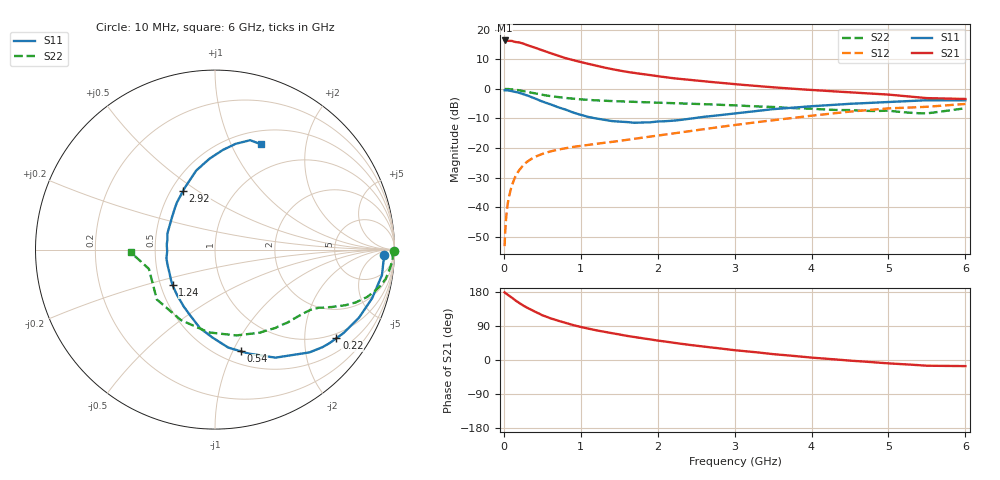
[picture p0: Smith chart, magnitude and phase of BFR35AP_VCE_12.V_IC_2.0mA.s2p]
! Infineon Technologies  Discrete & RF Semiconductors
! BFR35AP
! VCE =  12. V,  IC =  2.0 mA
! Common Emitter S-Parameters:  Nov 2015
# GHz  S  MA  R  50
!  f  S11  S21  S12  S22
! GHz  MAG  ANG  MAG  ANG  MAG  ANG  MAG  ANG
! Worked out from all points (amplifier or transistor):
!   210 points, 10 MHz to 6 GHz, reference 50 ohm
!   highest |S21| = 16.3 dB at 10 MHz (marker M1)
!   |S21| within 3 dB of that: start of sweep to 464.3 MHz
!   unconditionally stable (mu >= 1): 1.228 GHz to 3.179 GHz
!   at 185 MHz: K = 0.21, MSG = 21.9 dB, |S12| = -28.1 dB
!   at 1.52 GHz: K = 1.09, MAG = 9.9 dB, |S12| = -17.5 dB
!   at 6 GHz: K = 0.92, MSG = 0.8 dB, |S12| = -5.1 dB
!   S11 on the Smith chart (normalised r, x): 10 MHz: 27, -14; 220 MHz: 0.86, -2.84; 540 MHz: 0.62, -1.07; 1.24 GHz: 0.58, -0.25; 2.92 GHz: 0.58, +0.44; 6 GHz: 0.66, +1.31
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0.01  0.9432 -1.8  6.536 178.5  0.0022 85.3  0.9986 -0.6
0.02  0.9412 -3.5  6.408 176.6  0.0044 89.6  0.9896 -1.3
0.03  0.9403 -5.2  6.423 175.2  0.0067 87.1  0.9901 -2.0
0.065  0.9316 -11.2  6.446 170.2  0.0146 82.8  0.987 -4.4
0.1  0.9164 -17.2  6.44 165.2  0.0222 79.9  0.978 -6.7
0.155  0.8835 -26.0  6.145 156.6  0.0339 74.8  0.9612 -10.2
0.22  0.8375 -36.1  5.952 147.9  0.0456 69.4  0.9297 -13.6
0.3  0.7779 -47.4  5.473 138.1  0.0583 64.1  0.8878 -17.3
0.4  0.6902 -60.7  4.972 128.0  0.0705 58.7  0.8389 -20.5
0.5  0.6089 -72.1  4.46 118.1  0.0794 54.5  0.7898 -23.1
0.54  0.5835 -75.9  4.274 115.2  0.0825 53.4  0.7747 -23.8
0.68  0.5014 -89.6  3.706 105.3  0.0922 50.6  0.7306 -25.9
0.8  0.4456 -100.8  3.296 97.8  0.099 49.0  0.7003 -27.3
1.02  0.3563 -120.3  2.783 86.3  0.1091 48.4  0.6592 -29.5
1.24  0.3083 -139.8  2.386 77.0  0.1193 48.9  0.6327 -31.9
1.6  0.275 -169.8  1.927 63.6  0.1374 50.4  0.6066 -36.1
2.02  0.2804 160.0  1.617 50.8  0.1635 52.4  0.5815 -42.0
2.92  0.3722 118.5  1.224 27.9  0.2368 52.2  0.5293 -59.8
3.1  0.3951 113.3  1.166 24.0  0.254 51.1  0.5167 -64.4
4.1  0.5162 91.8  0.935 4.8  0.3622 42.8  0.4524 -98.5
5.1  0.6075 77.6  0.776 -10.0  0.4715 28.4  0.4125 -143.8
6  0.6403 66.5  0.672 -16.1  0.5538 16.4  0.4694 -178.1
